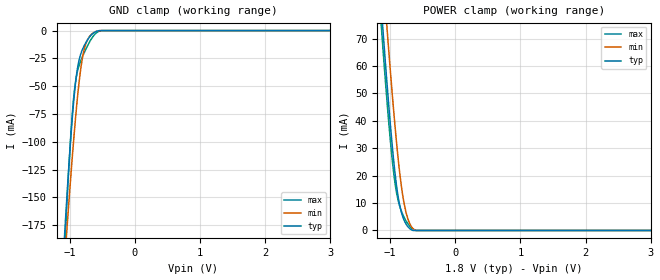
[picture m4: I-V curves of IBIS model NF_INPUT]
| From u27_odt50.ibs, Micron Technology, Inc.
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|   MODEL NF_INPUT
[Model]   NF_INPUT
Model_type   Terminator
| This model is for non-functioning DQ inputs on the x4 package
|   typ   min   max
C_comp   2.670pF   2.250pF   3.120pF
[Voltage Range]   1.800V   1.700V   1.900V
| Junction Temperature (Ambient temp is 25C typ, 70C min, 0C max)
[Temperature Range]   40.0   85.0   0.0
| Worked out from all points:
|   GND clamp passes 1 mA (typ) near -0.60 V on its own axis
|   POWER clamp passes 1 mA (typ) near -0.71 V on its own axis
[GND Clamp]
|   Voltage   I(typ)   I(min)   I(max)
-1.8V     -988.4mA   -872.2mA   -1.221A
-1.09V    -197.4mA   -220.2mA   NA
-1.07V    -177.6mA   -203.3mA   NA
-1.05V    -158.2mA   -186.6mA   NA
-1.03V    -139.4mA   -170.2mA   NA
-970mV    -87.75mA   -122.9mA   NA
-910mV    -47.87mA   -79.92mA   NA
-850mV    -25.59mA   -44.53mA   NA
-790mV    -15.41mA   -20.86mA   NA
-730mV    -8.923mA   -9.032mA   NA
-630mV    -2.057mA   -1.813mA   NA
3.6V      0A         0A         0A
[POWER Clamp]
|   Voltage   I(typ)   I(min)   I(max)
-1.8V     315.4mA    332.9mA    311.1mA
-1.13V    79.3mA     99.81mA    NA
-1.11V    72.83mA    93.33mA    NA
-1.05V    54.04mA    74.3mA     NA
-990mV    36.66mA    56.1mA     NA
-950mV    26.38mA    44.66mA    NA
-910mV    17.73mA    34.01mA    NA
-870mV    11.22mA    24.49mA    NA
-810mV    5.244mA    13.19mA    NA
-770mV    2.925mA    7.971mA    NA
-670mV    208.5uA    1.257mA    NA
3.6V      0A         0A         0A
